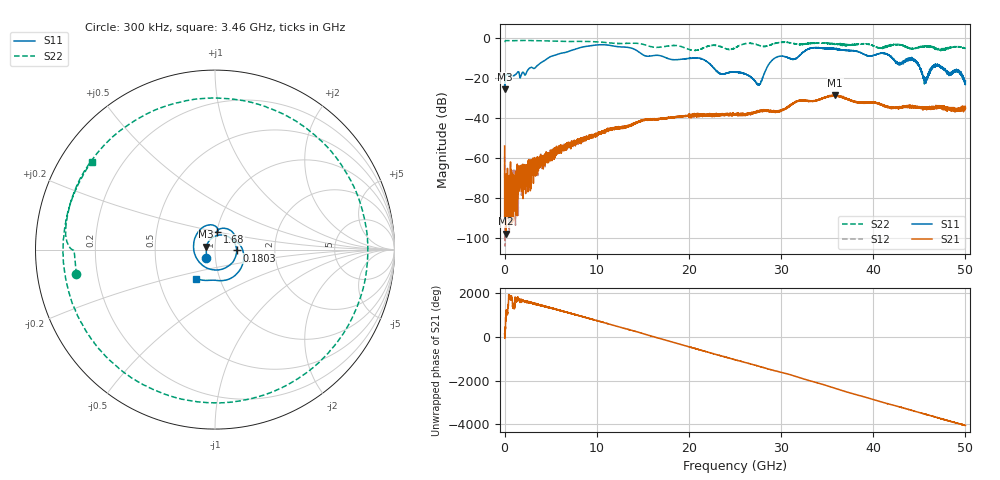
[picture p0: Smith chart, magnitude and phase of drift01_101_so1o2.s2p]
!Created with skrf (http://scikit-rf.org).
# Hz S RI R 50.0
!freq ReS11 ImS11 ReS21 ImS21 ReS12 ImS12 ReS22 ImS22
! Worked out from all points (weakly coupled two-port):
!   10001 points, 300 kHz to 50 GHz, reference 50 ohm
!   highest |S21| = -28.61 dB at 35.87 GHz (marker M1); lowest = -97.9 dB at 120.3 MHz (marker M2)
!   lowest |S11| = -25.8 dB at 5.3 MHz (marker M3), VSWR 1.11, Z = 45.3 + j1.41 ohm
!   |S11| at or under -10 dB: start of sweep to 4.769 GHz; 17.51 GHz to 29.39 GHz (11.87 GHz wide, 50.6 % of centre); 44.19 GHz to end of sweep (the widest 3 of 16)
!   |S22| runs from -6.5 to -1.4 dB; largest |S21 - S12| = 0.0049
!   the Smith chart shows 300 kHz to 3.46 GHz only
!   S11 on the Smith chart (normalised r, x): 300 kHz: 0.90, -0.08; 180.3 MHz: 1.27, -0.01; 1.68 GHz: 1.01, +0.20; 3.46 GHz: 0.77, -0.26
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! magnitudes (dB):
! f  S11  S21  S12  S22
! 300 kHz  -23.6  -54.1  -59.3  -2.1
! 5.3 MHz  -25.8  -70.7  -77.7  -2.1
! 120.3 MHz  -18.7  -97.9  -73.1  -1.5
! 180.3 MHz  -18.4  -88.8  -80.6  -1.4
! 260.3 MHz  -18.3  -72.7  -75.2  -1.4
! 1.68 GHz  -20.1  -67.4  -74.4  -1.4
! 3.46 GHz  -14.3  -64.4  -62.7  -1.5
! 8.335 GHz  -4.8  -51.3  -51.3  -1.8
! 16.67 GHz  -8.8  -40.7  -40.6  -4.8
! 21.22 GHz  -10.3  -38.2  -38.6  -5.7
! 25 GHz  -17.1  -38.7  -38.0  -5.1
! 27.58 GHz  -23.5  -36.7  -36.8  -3.8
! 29.28 GHz  -10.3  -36.8  -36.9  -2.8
! 31.45 GHz  -10.6  -32.4  -32.5  -3.0
! 33.34 GHz  -5.1  -31.8  -31.6  -2.7
! 35.87 GHz  -5.4  -28.6  -29.0  -3.2
! 41.67 GHz  -8.7  -34.6  -34.7  -4.2
! 42.79 GHz  -13.1  -34.7  -34.8  -3.6
! 44.4 GHz  -11.3  -34.5  -34.9  -5.3
! 45.63 GHz  -20.6  -35.3  -34.9  -4.4
! 46.93 GHz  -13.7  -34.7  -34.5  -5.4
! 50 GHz  -21.6  -35.4  -35.2  -5.3
